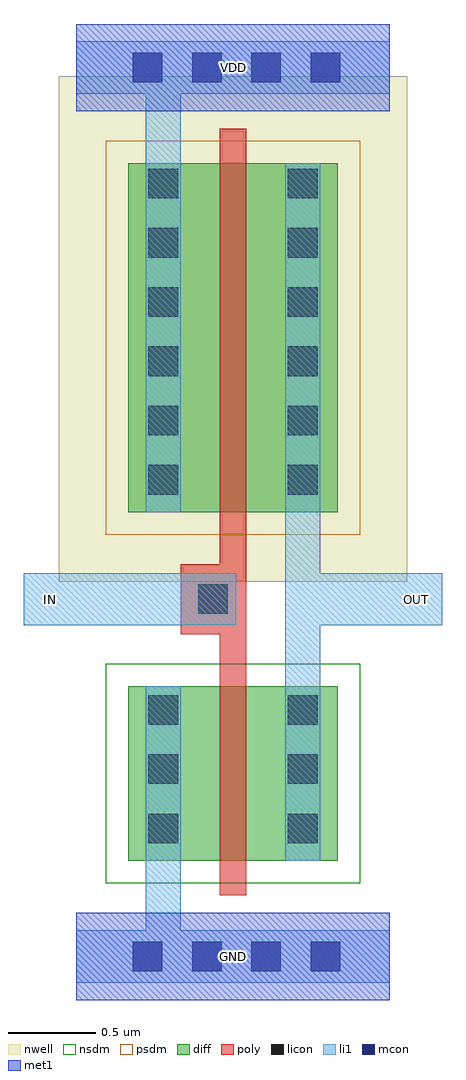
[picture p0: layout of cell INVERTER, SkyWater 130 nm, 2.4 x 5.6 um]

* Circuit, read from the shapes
.subckt INVERTER GND IN OUT VDD
XM1 OUT IN GND VSUBS sky130_fd_pr__nfet_01v8 w=1 l=0.15
XM2 OUT IN VDD n1 sky130_fd_pr__pfet_01v8 w=2 l=0.15
.ends

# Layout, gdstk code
import gdstk
lib = gdstk.Library(unit=1e-6, precision=1e-09)
def R(c, l, rs):  # rectangles x0, y0, x1, y1
    for r in rs: c.add(gdstk.rectangle(r[:2], r[2:], *l))
def A(c, l, x, y, w, h, nx, ny, dx, dy):  # array of equal rectangles
    R(c, l, [(x+i*dx, y+j*dy, x+i*dx+w, y+j*dy+h) for i in range(nx) for j in range(ny)])
nwell = (64, 20)
diff = (65, 20)
poly = (66, 20)
licon = (66, 44)
li1 = (67, 20)
mcon = (67, 44)
met1 = (68, 20)
nsdm = (93, 44)
psdm = (94, 20)

inverter = lib.new_cell('INVERTER')
R(inverter, nwell, [(-0.4,2.1,1.6,5)])
R(inverter, diff, [(0,0.5,1.2,1.5), (0,2.5,1.2,4.5)])
R(inverter, poly, [(0.525,0.3,0.675,4.7), (0.3,1.8,0.675,2.2)])
A(inverter, licon, 0.115, 0.6, 0.17, 0.17, 1, 3, 0, 0.34)
A(inverter, licon, 0.915, 0.6, 0.17, 0.17, 1, 3, 0, 0.34)
A(inverter, licon, 0.115, 2.6, 0.17, 0.17, 1, 6, 0, 0.34)
A(inverter, licon, 0.915, 2.6, 0.17, 0.17, 1, 6, 0, 0.34)
R(inverter, licon, [(0.4,1.915,0.57,2.085)])
R(inverter, li1, [(-0.3,-0.2,1.5,0.1), (0.1,0,0.3,1.5), (0.9,0.5,1.1,4.5), (-0.6,1.85,0.62,2.15), (0.9,1.85,1.8,2.15), (0.1,2.5,0.3,5), (-0.3,4.9,1.5,5.2)])
A(inverter, mcon, 0.025, -0.135, 0.17, 0.17, 4, 2, 0.34, 5.1)
R(inverter, met1, [(-0.3,-0.3,1.5,0.2), (-0.3,4.8,1.5,5.3)])
R(inverter, nsdm, [(-0.13,0.37,1.33,1.63)])
R(inverter, psdm, [(-0.13,2.37,1.33,4.63)])
inverter.add(gdstk.Label('IN', (-0.45,2), layer=67, texttype=20))
inverter.add(gdstk.Label('OUT', (1.65,2), layer=67, texttype=20))
inverter.add(gdstk.Label('VDD', (0.6,5.05), layer=68, texttype=20))
inverter.add(gdstk.Label('GND', (0.6,-0.05), layer=68, texttype=20))

lib.write_gds('INVERTER.gds')
